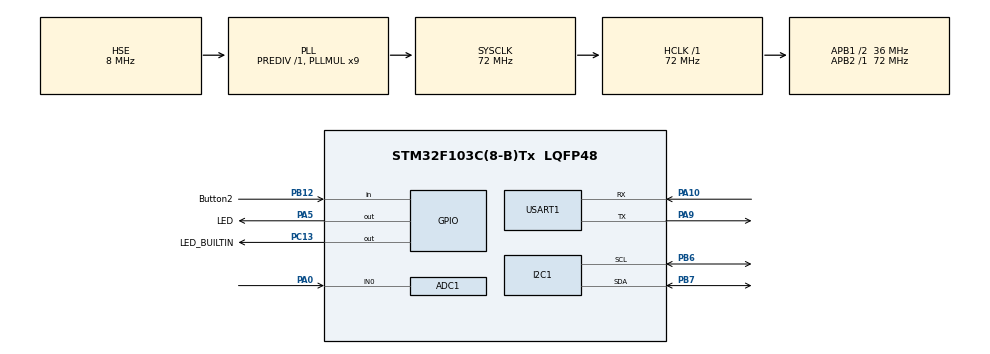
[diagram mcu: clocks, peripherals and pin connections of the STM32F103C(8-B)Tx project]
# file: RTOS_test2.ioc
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ADC1.Channel-2\#ChannelRegularConversion=ADC_CHANNEL_0
ADC1.ContinuousConvMode=DISABLE
ADC1.DiscontinuousConvMode=DISABLE
ADC1.EnableRegularConversion=ENABLE
ADC1.NbrOfConversion=1
ADC1.NbrOfConversionFlag=1
ADC1.Rank-2\#ChannelRegularConversion=1
ADC1.SamplingTime-2\#ChannelRegularConversion=ADC_SAMPLETIME_28CYCLES_5
ADC1.master=1
FREERTOS.Tasks01=defaultTask,24,128,StartDefaultTask,Default,NULL,Dynamic,NULL,NULL;pickButtonTask,24,128,pickButton,Default,NULL,Dynamic,NULL,NULL;getADCTask,32,128,getADC,Default,NULL,Dynamic,NULL,NULL;dispUARTTask,24,128,dispUART,Default,NULL,Dynamic,NULL,NULL;dispLEDTask,8,128,dispLED,Default,NULL,Dynamic,NULL,NULL
FREERTOS.configTOTAL_HEAP_SIZE=3600
I2C1.I2C_Mode=I2C_Fast
Mcu.Family=STM32F1
Mcu.Name=STM32F103C(8-B)Tx
Mcu.Package=LQFP48
NVIC.PriorityGroup=NVIC_PRIORITYGROUP_4
NVIC.TIM4_IRQn=true\:15\:0\:false\:false\:true\:false\:false\:true\:true
NVIC.TimeBase=TIM4_IRQn
NVIC.TimeBaseIP=TIM4
PA0-WKUP.Signal=ADCx_IN0
PA10.Mode=Asynchronous
PA10.Signal=USART1_RX
PA13.Mode=Serial_Wire
PA13.Signal=SYS_JTMS-SWDIO
PA14.Mode=Serial_Wire
PA14.Signal=SYS_JTCK-SWCLK
PA5.GPIO_Label=LED
PA5.Signal=GPIO_Output
PA9.Mode=Asynchronous
PA9.Signal=USART1_TX
PB12.GPIO_Label=Button2
PB12.Signal=GPIO_Input
PB6.GPIO_Pu=GPIO_PULLUP
PB6.Mode=I2C
PB6.Signal=I2C1_SCL
PB7.GPIO_Pu=GPIO_PULLUP
PB7.Mode=I2C
PB7.Signal=I2C1_SDA
PC13-TAMPER-RTC.GPIO_Label=LED_BUILTIN
PC13-TAMPER-RTC.Signal=GPIO_Output
PD0-OSC_IN.Mode=HSE-External-Oscillator
PD0-OSC_IN.Signal=RCC_OSC_IN
PD1-OSC_OUT.Mode=HSE-External-Oscillator
PD1-OSC_OUT.Signal=RCC_OSC_OUT
ProjectManager.HeapSize=0x200
ProjectManager.StackSize=0x400
ProjectManager.TargetToolchain=STM32CubeIDE
RCC.ADCPresc=RCC_ADCPCLK2_DIV6
RCC.AHBFreq_Value=72000000
RCC.APB1CLKDivider=RCC_HCLK_DIV2
RCC.APB1Freq_Value=36000000
RCC.APB1TimFreq_Value=72000000
RCC.APB2Freq_Value=72000000
RCC.APB2TimFreq_Value=72000000
RCC.HCLKFreq_Value=72000000
RCC.PLLMUL=RCC_PLL_MUL9
RCC.PLLSourceVirtual=RCC_PLLSOURCE_HSE
RCC.SYSCLKFreq_VALUE=72000000
RCC.SYSCLKSource=RCC_SYSCLKSOURCE_PLLCLK
RCC.USBFreq_Value=72000000
SH.ADCx_IN0.0=ADC1_IN0,IN0
USART1.VirtualMode=VM_ASYNC
VP_FREERTOS_VS_CMSIS_V2.Mode=CMSIS_V2
VP_SYS_VS_tim4.Mode=TIM4
board=custom

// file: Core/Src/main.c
/* USER CODE BEGIN Header */
/**
  ******************************************************************************
  * @file           : main.c
  * @brief          : Main program body
  ******************************************************************************
  * @attention
  *
  * Copyright (c) 2024 STMicroelectronics.
  * All rights reserved.
  *
  * This software is licensed under terms that can be found in the LICENSE file
  * in the root directory of this software component.
  * If no LICENSE file comes with this software, it is provided AS-IS.
  *
  ******************************************************************************
  */
/* USER CODE END Header */
#include "main.h"
#include "cmsis_os.h"

/* USER CODE BEGIN Includes */
#include "stdio.h"
/* USER CODE END Includes */

ADC_HandleTypeDef hadc1;

I2C_HandleTypeDef hi2c1;

UART_HandleTypeDef huart1;

/* Definitions for defaultTask */
osThreadId_t defaultTaskHandle;
const osThreadAttr_t defaultTask_attributes = {
  .name = "defaultTask",
  .stack_size = 128 * 4,
  .priority = (osPriority_t) osPriorityNormal,
};
/* Definitions for pickButtonTask */
osThreadId_t pickButtonTaskHandle;
const osThreadAttr_t pickButtonTask_attributes = {
  .name = "pickButtonTask",
  .stack_size = 128 * 4,
  .priority = (osPriority_t) osPriorityNormal,
};
/* Definitions for getADCTask */
osThreadId_t getADCTaskHandle;
const osThreadAttr_t getADCTask_attributes = {
  .name = "getADCTask",
  .stack_size = 128 * 4,
  .priority = (osPriority_t) osPriorityAboveNormal,
};
/* Definitions for dispUARTTask */
osThreadId_t dispUARTTaskHandle;
const osThreadAttr_t dispUARTTask_attributes = {
  .name = "dispUARTTask",
  .stack_size = 128 * 4,
  .priority = (osPriority_t) osPriorityNormal,
};
/* Definitions for dispLEDTask */
osThreadId_t dispLEDTaskHandle;
const osThreadAttr_t dispLEDTask_attributes = {
  .name = "dispLEDTask",
  .stack_size = 128 * 4,
  .priority = (osPriority_t) osPriorityLow,
};
/* USER CODE BEGIN PV */
uint32_t x_val;
uint8_t choice;
char buffer[50];

volatile int button2_pressed = 0;
volatile int led_state = 0;
volatile int prev_button2_state = 0;
/* USER CODE END PV */

void SystemClock_Config(void);
static void MX_GPIO_Init(void);
static void MX_ADC1_Init(void);
static void MX_I2C1_Init(void);
static void MX_USART1_UART_Init(void);
void StartDefaultTask(void *argument);
void pickButton(void *argument);
void getADC(void *argument);
void dispUART(void *argument);
void dispLED(void *argument);

/* USER CODE BEGIN PFP */
void Menu_Display(void);
/* USER CODE END PFP */

int main(void)
{

  /* MCU Configuration--------------------------------------------------------*/

  /* Reset of all peripherals, Initializes the Flash interface and the Systick. */
  HAL_Init();

  /* Configure the system clock */
  SystemClock_Config();

  /* Initialize all configured peripherals */
  MX_GPIO_Init();
  MX_ADC1_Init();
  MX_I2C1_Init();
  MX_USART1_UART_Init();

  /* Init scheduler */
  osKernelInitialize();

  /* Create the thread(s) */
  /* creation of defaultTask */
  defaultTaskHandle = osThreadNew(StartDefaultTask, NULL, &defaultTask_attributes);

  /* creation of pickButtonTask */
  pickButtonTaskHandle = osThreadNew(pickButton, NULL, &pickButtonTask_attributes);

  /* creation of getADCTask */
  getADCTaskHandle = osThreadNew(getADC, NULL, &getADCTask_attributes);

  /* creation of dispUARTTask */
  dispUARTTaskHandle = osThreadNew(dispUART, NULL, &dispUARTTask_attributes);

  /* creation of dispLEDTask */
  dispLEDTaskHandle = osThreadNew(dispLED, NULL, &dispLEDTask_attributes);

  /* Start scheduler */
  osKernelStart();

  /* We should never get here as control is now taken by the scheduler */

  /* Infinite loop */
  while (1)
  {

  }
}

void SystemClock_Config(void)
{
  RCC_OscInitTypeDef RCC_OscInitStruct = {0};
  RCC_ClkInitTypeDef RCC_ClkInitStruct = {0};
  RCC_PeriphCLKInitTypeDef PeriphClkInit = {0};

  /** Initializes the RCC Oscillators according to the specified parameters
  * in the RCC_OscInitTypeDef structure.
  */
  RCC_OscInitStruct.OscillatorType = RCC_OSCILLATORTYPE_HSE;
  RCC_OscInitStruct.HSEState = RCC_HSE_ON;
  RCC_OscInitStruct.HSEPredivValue = RCC_HSE_PREDIV_DIV1;
  RCC_OscInitStruct.HSIState = RCC_HSI_ON;
  RCC_OscInitStruct.PLL.PLLState = RCC_PLL_ON;
  RCC_OscInitStruct.PLL.PLLSource = RCC_PLLSOURCE_HSE;
  RCC_OscInitStruct.PLL.PLLMUL = RCC_PLL_MUL9;
  if (HAL_RCC_OscConfig(&RCC_OscInitStruct) != HAL_OK)
  {
    Error_Handler();
  }

  /** Initializes the CPU, AHB and APB buses clocks
  */
  RCC_ClkInitStruct.ClockType = RCC_CLOCKTYPE_HCLK|RCC_CLOCKTYPE_SYSCLK
                              |RCC_CLOCKTYPE_PCLK1|RCC_CLOCKTYPE_PCLK2;
  RCC_ClkInitStruct.SYSCLKSource = RCC_SYSCLKSOURCE_PLLCLK;
  RCC_ClkInitStruct.AHBCLKDivider = RCC_SYSCLK_DIV1;
  RCC_ClkInitStruct.APB1CLKDivider = RCC_HCLK_DIV2;
  RCC_ClkInitStruct.APB2CLKDivider = RCC_HCLK_DIV1;

  if (HAL_RCC_ClockConfig(&RCC_ClkInitStruct, FLASH_LATENCY_2) != HAL_OK)
  {
    Error_Handler();
  }
  PeriphClkInit.PeriphClockSelection = RCC_PERIPHCLK_ADC;
  PeriphClkInit.AdcClockSelection = RCC_ADCPCLK2_DIV6;
  if (HAL_RCCEx_PeriphCLKConfig(&PeriphClkInit) != HAL_OK)
  {
    Error_Handler();
  }
}

static void MX_ADC1_Init(void)
{

  ADC_ChannelConfTypeDef sConfig = {0};

  /** Common config
  */
  hadc1.Instance = ADC1;
  hadc1.Init.ScanConvMode = ADC_SCAN_DISABLE;
  hadc1.Init.ContinuousConvMode = DISABLE;
  hadc1.Init.DiscontinuousConvMode = DISABLE;
  hadc1.Init.ExternalTrigConv = ADC_SOFTWARE_START;
  hadc1.Init.DataAlign = ADC_DATAALIGN_RIGHT;
  hadc1.Init.NbrOfConversion = 1;
  if (HAL_ADC_Init(&hadc1) != HAL_OK)
  {
    Error_Handler();
  }

  /** Configure Regular Channel
  */
  sConfig.Channel = ADC_CHANNEL_0;
  sConfig.Rank = ADC_REGULAR_RANK_1;
  sConfig.SamplingTime = ADC_SAMPLETIME_28CYCLES_5;
  if (HAL_ADC_ConfigChannel(&hadc1, &sConfig) != HAL_OK)
  {
    Error_Handler();
  }

}

static void MX_I2C1_Init(void)
{

  hi2c1.Instance = I2C1;
  hi2c1.Init.ClockSpeed = 400000;
  hi2c1.Init.DutyCycle = I2C_DUTYCYCLE_2;
  hi2c1.Init.OwnAddress1 = 0;
  hi2c1.Init.AddressingMode = I2C_ADDRESSINGMODE_7BIT;
  hi2c1.Init.DualAddressMode = I2C_DUALADDRESS_DISABLE;
  hi2c1.Init.OwnAddress2 = 0;
  hi2c1.Init.GeneralCallMode = I2C_GENERALCALL_DISABLE;
  hi2c1.Init.NoStretchMode = I2C_NOSTRETCH_DISABLE;
  if (HAL_I2C_Init(&hi2c1) != HAL_OK)
  {
    Error_Handler();
  }

}

static void MX_USART1_UART_Init(void)
{

  huart1.Instance = USART1;
  huart1.Init.BaudRate = 115200;
  huart1.Init.WordLength = UART_WORDLENGTH_8B;
  huart1.Init.StopBits = UART_STOPBITS_1;
  huart1.Init.Parity = UART_PARITY_NONE;
  huart1.Init.Mode = UART_MODE_TX_RX;
  huart1.Init.HwFlowCtl = UART_HWCONTROL_NONE;
  huart1.Init.OverSampling = UART_OVERSAMPLING_16;
  if (HAL_UART_Init(&huart1) != HAL_OK)
  {
    Error_Handler();
  }

}

static void MX_GPIO_Init(void)
{
  GPIO_InitTypeDef GPIO_InitStruct = {0};

  /* GPIO Ports Clock Enable */
  __HAL_RCC_GPIOC_CLK_ENABLE();
  __HAL_RCC_GPIOD_CLK_ENABLE();
  __HAL_RCC_GPIOA_CLK_ENABLE();
  __HAL_RCC_GPIOB_CLK_ENABLE();

  /*Configure GPIO pin Output Level */
  HAL_GPIO_WritePin(LED_BUILTIN_GPIO_Port, LED_BUILTIN_Pin, GPIO_PIN_RESET);

  /*Configure GPIO pin Output Level */
  HAL_GPIO_WritePin(LED_GPIO_Port, LED_Pin, GPIO_PIN_RESET);

  /*Configure GPIO pin : LED_BUILTIN_Pin */
  GPIO_InitStruct.Pin = LED_BUILTIN_Pin;
  GPIO_InitStruct.Mode = GPIO_MODE_OUTPUT_PP;
  GPIO_InitStruct.Pull = GPIO_NOPULL;
  GPIO_InitStruct.Speed = GPIO_SPEED_FREQ_LOW;
  HAL_GPIO_Init(LED_BUILTIN_GPIO_Port, &GPIO_InitStruct);

  /*Configure GPIO pin : LED_Pin */
  GPIO_InitStruct.Pin = LED_Pin;
  GPIO_InitStruct.Mode = GPIO_MODE_OUTPUT_PP;
  GPIO_InitStruct.Pull = GPIO_NOPULL;
  GPIO_InitStruct.Speed = GPIO_SPEED_FREQ_LOW;
  HAL_GPIO_Init(LED_GPIO_Port, &GPIO_InitStruct);

  /*Configure GPIO pin : Button2_Pin */
  GPIO_InitStruct.Pin = Button2_Pin;
  GPIO_InitStruct.Mode = GPIO_MODE_INPUT;
  GPIO_InitStruct.Pull = GPIO_NOPULL;
  HAL_GPIO_Init(Button2_GPIO_Port, &GPIO_InitStruct);

}

/* USER CODE BEGIN 4 */
void Menu_Display(void)
{
	uint8_t menu_1[] = "\r\n1. Voltage monitor read\r\n";
	uint8_t menu_2[] = "2. Re-display Menu\r\n\r\n";

	HAL_UART_Transmit(&huart1, menu_1, sizeof(menu_1), 10);
	HAL_UART_Transmit(&huart1, menu_2, sizeof(menu_2), 10);

}
/* USER CODE END 4 */

void StartDefaultTask(void *argument)
{
  for(;;)
  {
    osDelay(1);
  }
}

void pickButton(void *argument)
{
  /* USER CODE BEGIN pickButton */
  /* Infinite loop */
	for(;;)
	  {

		  if(HAL_GPIO_ReadPin(Button2_GPIO_Port, Button2_Pin) == GPIO_PIN_RESET)
		  {
			  osDelay(300);	// debounce
			  button2_pressed = 1;
			  led_state = 1;
		  }
		  else
		  {
			  button2_pressed = 0;
			  led_state = 0;
		  }
	    osDelay(100);
	  }
  /* USER CODE END pickButton */
}

void getADC(void *argument)
{
  /* USER CODE BEGIN getADC */
  /* Infinite loop */
  for(;;)
  {
	  HAL_ADC_Start(&hadc1);
	  HAL_ADC_PollForConversion(&hadc1, 10);
	  x_val = (HAL_ADC_GetValue(&hadc1));
	  HAL_ADC_Stop(&hadc1);

	  // process ADC values here
	  osDelay(100);
  }
  /* USER CODE END getADC */
}

void dispUART(void *argument)
{
  /* USER CODE BEGIN dispUART */
	Menu_Display();
  /* Infinite loop */
  for(;;)
  {
	  // select user input
	  if (HAL_UART_Receive(&huart1, &choice, sizeof(choice), 10) == HAL_OK)
	  {
		  switch (choice) {
		  case '1':
			  //HAL_UART_Transmit(&huart1, (uint8_t*)"2 pressed\r\n", sizeof("1 pressed\r\n"), 10);
			  sprintf(buffer, "Voltage = %lu\r\n",x_val);
			  HAL_UART_Transmit(&huart1, (uint8_t*)buffer, sizeof(buffer), 10);
			  break;
		  case '2':
			  Menu_Display();
			  break;
	  	  default:
	  		  break;
		  }
	  	}

	  	if(button2_pressed)
	  	{
	  		HAL_UART_Transmit(&huart1, (uint8_t*)"Button1 pressed\r\n", sizeof("Button1 pressed\r\n"), 10);
	  		button2_pressed = 0;
	  	} else{
            HAL_UART_Transmit(&huart1, (uint8_t*)"Button1 not pressed\r\n", sizeof("Button1 not pressed\r\n"), 10);
        }
        prev_button2_state = button2_pressed;

        if(led_state)
	  	{
	  		HAL_UART_Transmit(&huart1, (uint8_t*)"LED ON\r\n", sizeof("LED ON\r\n"), 10);
	  	} else{
	  		HAL_UART_Transmit(&huart1, (uint8_t*)"LED OFF\r\n", sizeof("LED OFF\r\n"), 10);
	  	}

	 osDelay(1000);
  }
  /* USER CODE END dispUART */
}

void dispLED(void *argument)
{
  /* USER CODE BEGIN dispLED */
  /* Infinite loop */
	static uint8_t prev_led_state = 0xFF; // Initialize with an invalid state

	for(;;)
	{
		 // Check if button2 is pressed
		      if (button2_pressed) {
		          HAL_GPIO_WritePin(LED_GPIO_Port, LED_Pin, GPIO_PIN_SET); // LED ON
		      } else {
		          HAL_GPIO_WritePin(LED_GPIO_Port, LED_Pin, GPIO_PIN_RESET); // LED OFF
		      }

		      // Update the previous state for LED
		      prev_led_state = button2_pressed;
	    osDelay(100);
	  }
  /* USER CODE END dispLED */
}

void HAL_TIM_PeriodElapsedCallback(TIM_HandleTypeDef *htim)
{
  if (htim->Instance == TIM4) {
    HAL_IncTick();
  }
}

void Error_Handler(void)
{
  __disable_irq();
  while (1)
  {
  }
}
